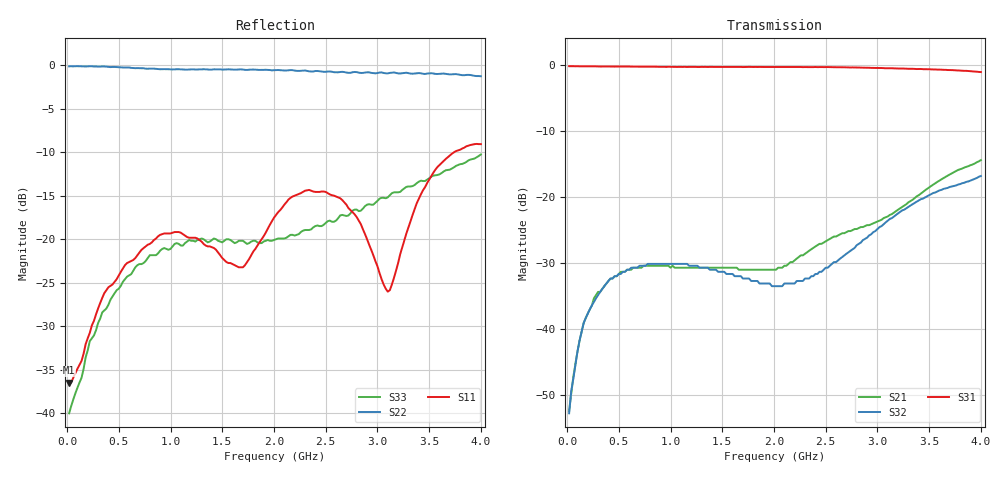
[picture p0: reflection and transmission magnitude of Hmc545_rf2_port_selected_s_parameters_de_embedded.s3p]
!Hittite Microwave Corporation
!20 Alpha Rd
!Chelmsford, MA 01824
!Tel: 978-250-3343
!Fax: 978-250-3373
!Device: HMC545, DC - 4 GHz  T/R Switch in  SOT26 SMT package
!Misc: Port1=RFC, Port2= RF1, Port3=RF2, RF2 ON, Data taken on a part mounted on 101659-4 Eval PCB,Bias: +5VDC
# MHZ S MA R 50
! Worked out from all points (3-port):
!   200 points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, 20.03 MHz to 4 GHz, reference 50 ohm
!   strongest paths, dB at 20.03 MHz, 1.02 GHz, 2.02 GHz, 3.02 GHz, 4 GHz:
!     S31: -0.2, -0.3, -0.3, -0.4, -1.1
!     S32: -52.8, -30.2, -33.6, -24.6, -16.8
!     S21: -52.5, -30.5, -31.1, -23.6, -14.4
!   lowest |S11| = -36.5 dB at 20.03 MHz (marker M1), VSWR 1.03, Z = 51.5 - j0.228 ohm
!   |S11| at or under -10 dB: start of sweep to 3.741 GHz
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20.03  0.015 -8.5  0.002396 21.4  0.979 -0.7
       0.002363 23.4  0.985 -4.2  0.002333 21.8
       0.981 -0.6  0.002278 23.7  0.01 -11.6
160.029  0.022 -40.5  0.011 65.7  0.979 -4.7
         0.011 65.6  0.985 -31.8  0.011 60.5
         0.979 -4.7  0.011 60.6  0.018 -57.3
560.026  0.071 -83.2  0.027 39.3  0.975 -15.6
         0.027 39.2  0.97 -95.6  0.027 21.3
         0.975 -15.6  0.027 21.0  0.059 -87.3
1180.021  0.102 -135.0  0.029 24.7  0.969 -32.3
          0.029 24.2  0.945 -151.4  0.03 -29.5
          0.969 -32.3  0.03 -29.4  0.099 -114.1
1700.017  0.069 -119.3  0.028 29.5  0.966 -46.2
          0.028 29.8  0.944 176.8  0.024 -75.2
          0.966 -46.3  0.024 -76.0  0.098 -120.7
2020.015  0.138 -121.6  0.028 43.2  0.967 -55.1
          0.028 43.7  0.937 158.5  0.022 -113.8
          0.967 -55.2  0.021 -114.0  0.1 -126.9
2640.01  0.172 169.3  0.052 55.8  0.962 -72.9
         0.052 55.5  0.914 127.0  0.035 173.5
         0.963 -73.1  0.034 174.3  0.137 -144.4
3100.007  0.05 -179.8  0.071 58.5  0.951 -86.6
          0.071 57.9  0.897 108.2  0.065 138.0
          0.946 -86.8  0.066 138.6  0.174 -164.6
3540.003  0.241 -167.0  0.125 51.4  0.931 -100.7
          0.124 51.3  0.896 93.0  0.105 104.4
          0.926 -100.5  0.107 104.2  0.232 177.9
4000  0.352 139.0  0.19 21.4  0.884 -116.2
      0.19 21.8  0.864 77.3  0.143 77.5
      0.885 -116.1  0.144 76.4  0.307 164.7
